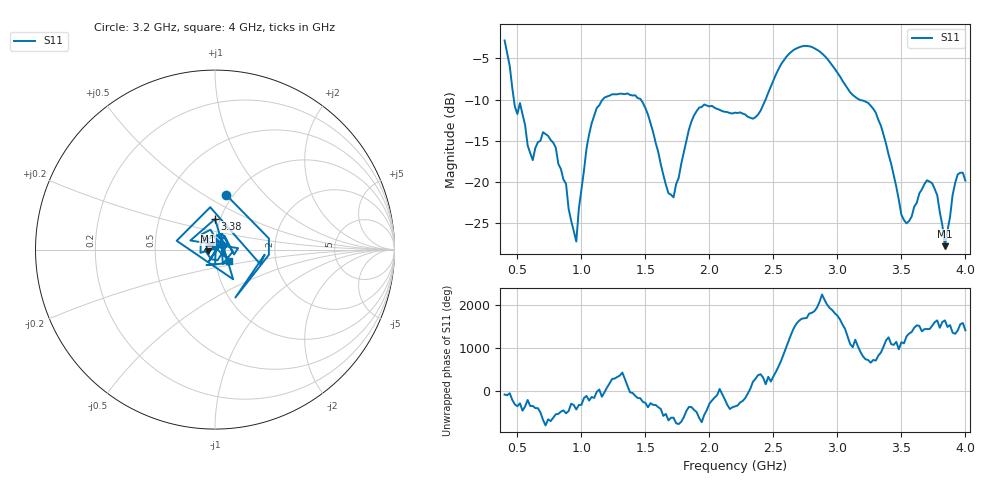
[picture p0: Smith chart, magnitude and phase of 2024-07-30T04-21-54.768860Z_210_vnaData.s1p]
!Created with skrf (http://scikit-rf.org).
# Hz S RI R 50.0
!freq ReS11 ImS11
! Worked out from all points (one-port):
!   181 points, 400 MHz to 4 GHz, reference 50 ohm
!   lowest |S11| = -27.8 dB at 3.84 GHz (marker M1), VSWR 1.08, Z = 46.2 - j0.874 ohm
!   |S11| at or under -10 dB: 472.3 MHz to 1.167 GHz (694.4 MHz wide, 84.7 % of centre); 1.464 GHz to 2.439 GHz (975.6 MHz wide, 50 % of centre); 3.17 GHz to end of sweep
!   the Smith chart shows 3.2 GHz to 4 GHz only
!   S11 on the Smith chart (normalised r, x): 3.2 GHz: 0.93, +0.63; 3.38 GHz: 0.94, +0.33; 4 GHz: 1.16, -0.15
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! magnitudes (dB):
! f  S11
! 400 MHz  -2.8
! 480 MHz  -10.9
! 520 MHz  -10.4
! 620 MHz  -17.4
! 700 MHz  -14.0
! 800 MHz  -15.9
! 860 MHz  -19.7
! 960 MHz  -27.2
! 1.04 GHz  -15.9
! 1.08 GHz  -12.9
! 1.3 GHz  -9.3
! 1.48 GHz  -10.4
! 1.68 GHz  -21.4
! 1.76 GHz  -19.5
! 1.92 GHz  -11.0
! 2.2 GHz  -11.6
! 2.38 GHz  -11.8
! 2.66 GHz  -4.0
! 2.86 GHz  -4.2
! 3.1 GHz  -9.1
! 3.2 GHz  -10.1
! 3.38 GHz  -15.4
! 3.5 GHz  -24.0
! 3.56 GHz  -24.8
! 3.74 GHz  -20.2
! 3.84 GHz  -27.8
! 3.94 GHz  -19.1
! 4 GHz  -19.9
